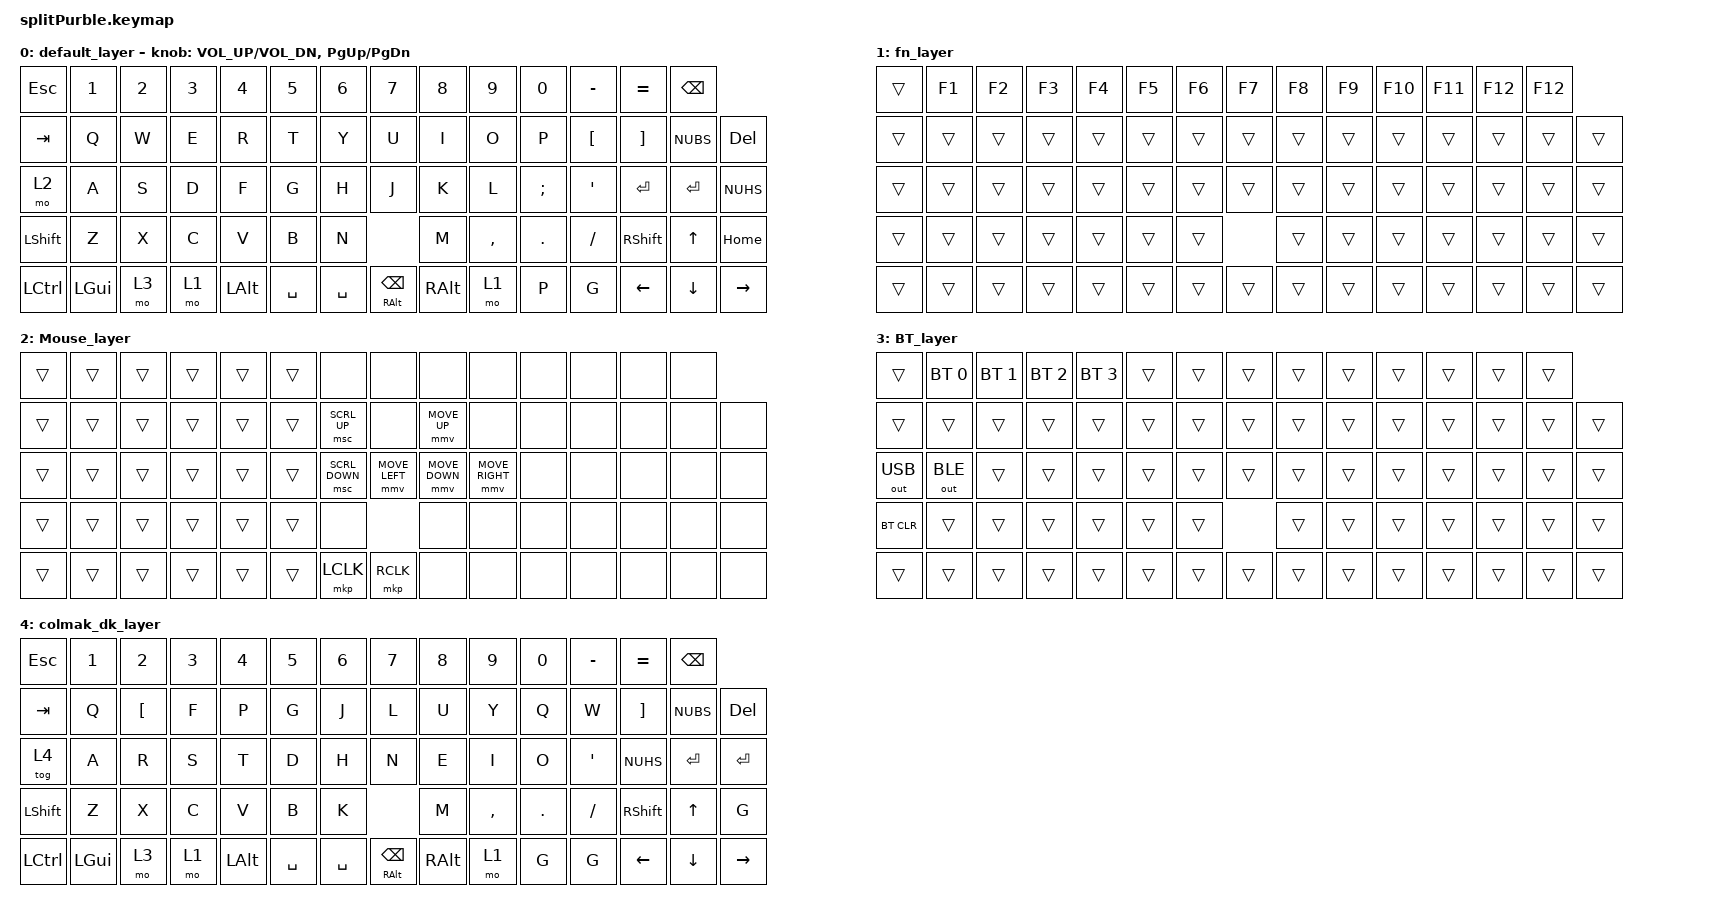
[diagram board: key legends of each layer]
/*
 * Copyright (c) 2022 The ZMK Contributors
 *
 * SPDX-License-Identifier: MIT
 */

#define ZMK_POINTING_DEFAULT_MOVE_VAL 1500


#include <behaviors.dtsi>
#include <dt-bindings/zmk/keys.h>
#include <dt-bindings/zmk/bt.h>
#include <dt-bindings/zmk/outputs.h>
#include <dt-bindings/zmk/pointing.h>

/ {
    keymap {
        compatible = "zmk,keymap";

        default_layer {
            bindings = <
                &kp ESC     &kp N1      &kp N2      &kp N3      &kp N4      &kp N5               &kp N6            &kp N7   &kp N8       &kp N9       &kp N0      &kp MINUS  &kp EQUAL         &kp BSPC        
                &kp TAB     &kp Q       &kp W       &kp E       &kp R       &kp T                &kp Y             &kp U    &kp I        &kp O        &kp P       &kp LBKT   &kp RBKT     &kp NUBS   &kp DEL
                &mo 2       &kp A       &kp S       &kp D       &kp F       &kp G                &kp H             &kp J    &kp K        &kp L        &kp SEMI    &kp SQT    &kp ENTER    &kp ENTER  &kp NUHS
                &kp LSHFT   &kp Z       &kp X       &kp C       &kp V       &kp B                &kp N             &kp M    &kp COMMA    &kp DOT      &kp SLASH         &kp RSHFT         &kp UP     &kp HOME  
                &kp LCTRL   &kp LGUI    &mo 3       &mo 1       &kp LALT    &kp SPACE        &kp SPACE     &mt RALT BSPC    &kp RALT     &mo 1        &kp P       &kp G      &kp LEFT     &kp DOWN   &kp RIGHT
            >;

             sensor-bindings = <&inc_dec_kp C_VOL_UP C_VOL_DN &inc_dec_kp PG_UP PG_DN>;
        };

        fn_layer {
            bindings = <
                &trans     &kp F1   &kp F2    &kp F3    &kp F4    &kp F5            &kp F6     &kp F7     &kp F8     &kp F9     &kp F10      &kp F11     &kp F12          &kp F12        
                &trans     &trans   &trans    &trans    &trans    &trans            &trans     &trans     &trans     &trans     &trans       &trans      &trans       &trans  &trans
                &trans     &trans   &trans    &trans    &trans    &trans            &trans     &trans     &trans     &trans     &trans       &trans      &trans       &trans  &trans
                &trans     &trans   &trans    &trans    &trans    &trans            &trans     &trans     &trans     &trans             &trans           &trans       &trans  &trans   
                &trans     &trans   &trans    &trans    &trans    &trans            &trans     &trans     &trans     &trans     &trans       &trans      &trans       &trans  &trans 
            >;
        };

        Mouse_layer {
            bindings = <
                &trans     &trans   &trans    &trans   &trans   &trans          &none           &none           &none            &none             &none      &none      &none       &none                   
                &trans     &trans   &trans    &trans   &trans   &trans          &msc SCRL_UP    &none           &mmv MOVE_UP     &none             &none      &none      &none  &none    &none
                &trans     &trans   &trans    &trans   &trans   &trans          &msc SCRL_DOWN	&mmv MOVE_LEFT  &mmv MOVE_DOWN   &mmv MOVE_RIGHT   &none      &none      &none  &none    &none
                &trans     &trans   &trans    &trans   &trans   &trans          &none           &none           &none            &none             &none          &none         &none    &none
                &trans     &trans   &trans    &trans   &trans   &trans          &mkp LCLK       &mkp RCLK       &none            &none             &none      &none      &none  &none    &none
            >;
        };

        BT_layer {
            bindings = <
                &trans        &bt BT_SEL 0   &bt BT_SEL 1   &bt BT_SEL 2   &bt BT_SEL 3   &trans         &trans   &trans   &trans   &trans   &trans   &trans   &trans        &trans        
                &trans        &trans         &trans         &trans         &trans         &trans         &trans   &trans   &trans   &trans   &trans   &trans   &trans   &trans     &trans
                &out OUT_USB  &out OUT_BLE   &trans         &trans         &trans         &trans         &trans   &trans   &trans   &trans   &trans   &trans   &trans   &trans     &trans
                &bt BT_CLR    &trans         &trans         &trans         &trans         &trans         &trans   &trans   &trans   &trans   &trans         &trans      &trans     &trans  
                &trans        &trans         &trans         &trans         &trans         &trans         &trans   &trans   &trans   &trans   &trans   &trans   &trans   &trans     &trans
            >;
        };

         colmak_dk_layer {
            bindings = <
               &kp ESC     &kp N1      &kp N2      &kp N3      &kp N4      &kp N5               &kp N6            &kp N7   &kp N8       &kp N9       &kp N0      &kp MINUS  &kp EQUAL         &kp BSPC        
                &kp TAB     &kp Q       &kp LBKT   &kp F       &kp P       &kp G                &kp J             &kp L    &kp U        &kp Y        &kp Q       &kp W    &kp RBKT     &kp NUBS   &kp DEL
                &tog 4       &kp A       &kp R       &kp S       &kp T       &kp D               &kp H             &kp N    &kp E        &kp I       &kp O       &kp SQT    &kp NUHS    &kp ENTER  &kp ENTER
                &kp LSHFT   &kp Z       &kp X       &kp C       &kp V       &kp B               &kp K             &kp M    &kp COMMA    &kp DOT     &kp SLASH         &kp RSHFT         &kp UP     &kp G  
                &kp LCTRL   &kp LGUI    &mo 3       &mo 1       &kp LALT    &kp SPACE        &kp SPACE     &mt RALT BSPC    &kp RALT     &mo 1       &kp G       &kp G      &kp LEFT     &kp DOWN   &kp RIGHT    
            >;
        };
    };
};
